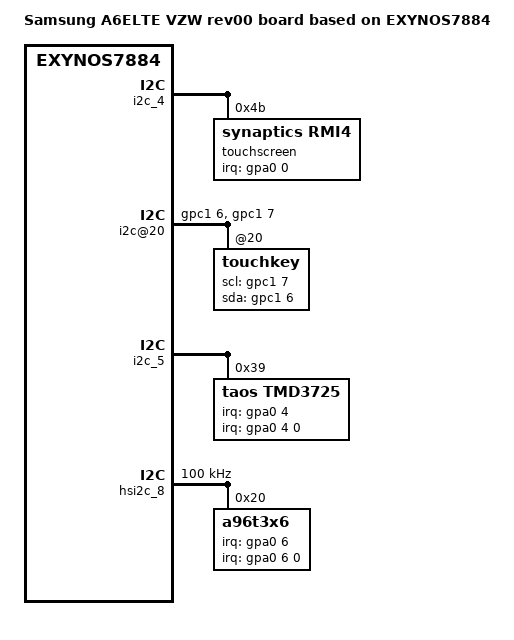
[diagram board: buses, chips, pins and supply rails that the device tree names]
/*
 * SAMSUNG UNIVERSAL7885 board device tree source
 *
 * Copyright (c) 2013 Samsung Electronics Co., Ltd.
 *		http://www.samsung.com
 *
 * This program is free software; you can redistribute it and/or modify
 * it under the terms of the GNU General Public License version 2 as
 * published by the Free Software Foundation.
*/

/dts-v1/;
#include "exynos7884-a6elte_common.dtsi"
#include "exynos7884-a6elte_usa_gpio_00.dtsi"
#include "exynos7884-a6elte_fingerprint-sensor_00.dtsi"

/ {
	model = "Samsung A6ELTE VZW rev00 board based on EXYNOS7884";
	model_info-chip = <7885>;
	model_info-platform = "android";
	model_info-subtype = "samsung";
	model_info-hw_rev = <0>;
	model_info-hw_rev_end = <2>;
	compatible = "samsung, A6ELTE VZW rev00", "samsung,Universal7884";

	i2c_4:i2c@13870000 {
		status = "okay";
		#address-cells = <1>;
		#size-cells = <0>;
		samsung,i2c-max-bus-freq = <400000>;
		touchscreen@4b {
			compatible = "synaptics,rmi4";
			reg = <0x4b>;
			pinctrl-names = "default", "on_state", "off_state";
			pinctrl-0 = <&attn_irq>;
			pinctrl-1 = <&i2c_on>;
			pinctrl-2 = <&i2c_off>;
			synaptics,irq_gpio = <&gpa0 0 0>;
			synaptics,irq_type = <8200>;
			synaptics,max_coords = <720 1280>;	/* x y */
			synaptics,num_lines = <32 18>;		/* rx tx */
			synaptics,ub-i2c-addr = <0x2c>;
			synaptics,reset-delay-ms = <150>;
			synaptics,firmware_name = "tsp_synaptics/td4100_j7pop.fw";
			synaptics,firmware_name_bl = "tsp_synaptics/td4100_j7pop_recovery.fw";
		};

		touchscreen@48 {
			status = "disabled";
		};
	};

	i2c@20 {
		gpios = <&gpc1 6 0 &gpc1 7 0>;
		touchkey@20 {
			coreriver,scl-gpio = <&gpc1 7 0>;
			coreriver,sda-gpio = <&gpc1 6 0>;
			coreriver,bringup;
		};
	};

	i2c_5:i2c@13880000 {
		status = "okay";
		#address-cells = <1>;
		#size-cells = <0>;
		pinctrl-names = "default";
		pinctrl-0 = <&i2c5_bus>;

		tmd3725@39 {
			compatible = "taos,tmd3725";
			reg = <0x39>;
			pinctrl-names = "default";
			pinctrl-0 = <&prox_int>;
			interrupt-parent = <&gpa0>;
			interrupts = <4 0 0>;
			taos,irq_gpio = <&gpa0 4 0x00>;
			taos,vled_ldo_pin = <&gpg3 1 0x00>;
			taos,prox_thd_det_hi = <55>;
			taos,prox_thd_still_det_low = <40>;
			taos,prox_thd_still_det_hi = <250>;
			taos,prox_thd_rel_low = <130>;
			taos,coef_r = <(-830)>;
			taos,coef_g = <1100>;
			taos,coef_b = <(-1180)>;
			taos,coef_c = <1000>;
			taos,dgf = <842>;
			taos,cct_coef = <3521>;
			taos,cct_offset = <2095>;
		};
	};

	pinctrl@11CB0000 {
		grip_int: grip_int {
			samsung,pins = "gpa0-6";
			samsung,pin-function = <0xf>;
			samsung,pin-pud = <0>;
			samsung,pin-drv = <0>;
		};
	};

	pinctrl@139B0000 {
		grip_ldo: grip_ldo {
			samsung,pins = "gpg1-6";
			samsung,pin-function = <1>;
			samsung,pin-pud = <0>;
		};
	};

	/* VIBRATOR */
	sec_vib {
		compatible = "sec_vib";
		sec_vib_pdata {
			status = "disabled";
			sec_vib,max_timeout = <10000>;
			sec_vib,ldo_type = <1>;
			sec_vib,ldo_en = <&gpp0 3 1>;
		};
	};

	hsi2c_8: hsi2c@13980000 {
		status = "okay";
		#address-cells = <1>;
		#size-cells = <0>;
		clock-frequency = <100000>;
		pinctrl-names = "default";
		pinctrl-0 = <&hs_i2c8_bus>;
		
		a96t3x6@20 {
			compatible = "a96t3x6";
			pinctrl-names = "default";
			pinctrl-0 = <&grip_int &grip_ldo>;
			reg = <0x20>;
			interrupt-parent = <&gpa0>;
			interrupts = <6 0 0>;
			a96t3x6,irq_gpio = <&gpa0 6 0>;
			a96t3x6,ldo_en = <&gpg1 6 0>;
			a96t3x6,fw_path = "abov/a96t346_a6elte.fw";
			a96t3x6,firmup_cmd = <0x38>;
		};
	};
};
